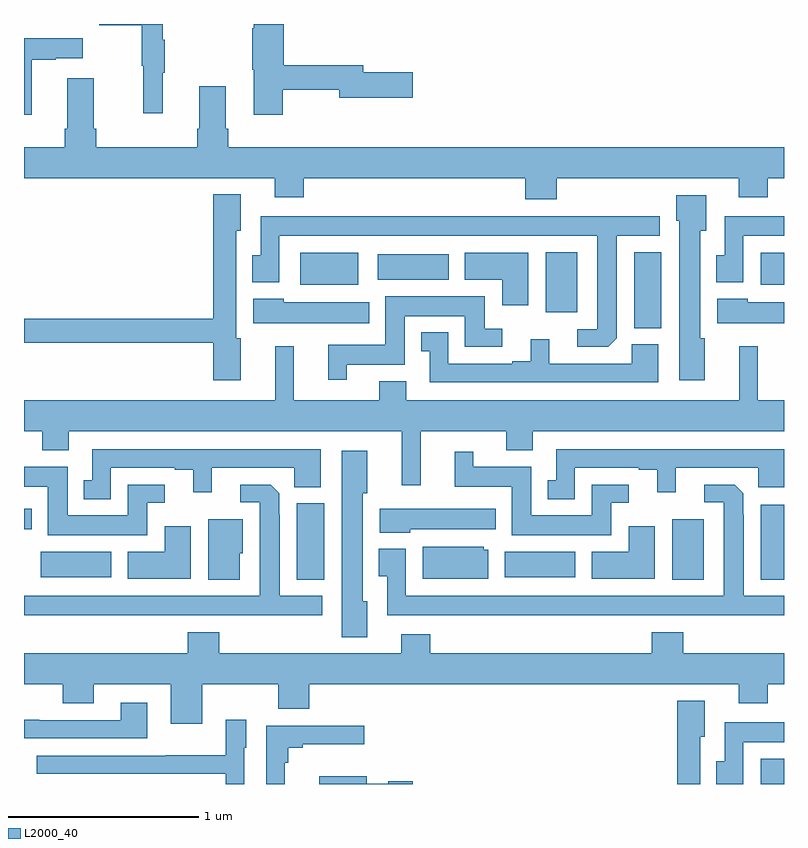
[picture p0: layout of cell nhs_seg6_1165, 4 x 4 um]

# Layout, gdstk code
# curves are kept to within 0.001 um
import gdstk
lib = gdstk.Library(unit=1e-6, precision=1e-09)
def R(c, l, rs):  # rectangles x0, y0, x1, y1
    for r in rs: c.add(gdstk.rectangle(r[:2], r[2:], *l))
def P(c, l, *ps):  # polygons
    for p in ps: c.add(gdstk.Polygon(p, *l))
L2000_40 = (2000, 40)

nhs_seg6_1165 = lib.new_cell('nhs_seg6_1165')
R(nhs_seg6_1165, L2000_40, [(186.878,925.5,187,925.633), (184.436,926.576,184.579,926.977), (186.413,926.576,186.577,926.893), (186.878,926.576,187,926.971), (183.087,926.588,183.46,926.722), (185.529,926.588,185.902,926.722), (183,926.84,183.04,926.95), (186.212,927.899,186.355,928.3), (185.747,927.984,185.911,928.3), (184.454,928.127,184.759,928.297), (186.878,928.127,187,928.297), (184.863,928.154,185.236,928.288)])
P(nhs_seg6_1165, L2000_40, [(184.362,929.154),(184.658,929.154),(184.658,929.111),(185.047,929.111),(185.047,929.246),(184.786,929.246),(184.786,929.282),(184.367,929.282),(184.367,929.5),(184.208,929.5),(184.208,929.477),(184.201,929.477),(184.201,929.259),(184.208,929.259),(184.208,929.022),(184.362,929.022)],
  [(183.731,929.243),(183.742,929.243),(183.742,929.417),(183.731,929.417),(183.731,929.5),(183.397,929.5),(183.397,929.494),(183.621,929.494),(183.621,929.28),(183.628,929.28),(183.628,929.031),(183.731,929.031)],
  [(183.04,929.311),(183.167,929.311),(183.167,929.321),(183.31,929.321),(183.31,929.425),(183,929.425),(183,929.022),(183.04,929.022)],
  [(185.804,928.688),(186.761,928.688),(186.761,928.589),(186.914,928.589),(186.914,928.688),(187,928.688),(187,928.852),(184.076,928.852),(184.076,928.948),(184.063,928.948),(184.063,929.173),(183.923,929.173),(183.923,928.948),(183.911,928.948),(183.911,928.852),(183.38,928.852),(183.38,928.948),(183.367,928.948),(183.367,929.215),(183.227,929.215),(183.227,928.948),(183.215,928.948),(183.215,928.852),(183,928.852),(183,928.688),(184.319,928.688),(184.319,928.589),(184.472,928.589),(184.472,928.688),(185.639,928.688),(185.639,928.577),(185.804,928.577)],
  [(184.141,927.846),(184.117,927.846),(184.117,928.413),(184.141,928.413),(184.141,928.603),(183.995,928.603),(183.995,927.95),(183,927.95),(183,927.822),(183.995,927.822),(183.995,927.624),(184.141,927.624)],
  [(186.583,927.846),(186.559,927.846),(186.559,928.413),(186.592,928.413),(186.592,928.6),(186.434,928.6),(186.434,928.464),(186.449,928.464),(186.449,927.624),(186.583,927.624)],
  [(186.12,927.847),(186.121,928.385),(186.346,928.385),(186.346,928.489),(184.247,928.489),(184.247,928.284),(184.202,928.284),(184.202,928.14),(184.344,928.14),(184.344,928.385),(186.017,928.385),(186.017,927.894),(185.913,927.894),(185.913,927.801),(186.074,927.801)],
  [(186.786,928.385),(187,928.385),(187,928.489),(186.689,928.489),(186.689,928.284),(186.644,928.284),(186.644,928.14),(186.786,928.14)],
  [(185.653,928.297),(185.321,928.297),(185.321,928.154),(185.516,928.154),(185.516,928.02),(185.653,928.02)],
  [(184.699,927.707),(185.005,927.707),(185.005,927.962),(185.321,927.962),(185.321,927.801),(185.518,927.801),(185.518,927.897),(185.425,927.897),(185.425,928.066),(184.901,928.066),(184.901,927.811),(184.601,927.811),(184.601,927.627),(184.699,927.627)],
  [(187,928.036),(186.81,928.036),(186.81,928.054),(186.648,928.054),(186.648,927.926),(187,927.926)],
  [(184.816,928.036),(184.368,928.036),(184.368,928.054),(184.206,928.054),(184.206,927.926),(184.816,927.926)],
  [(186.337,927.814),(186.198,927.814),(186.198,927.711),(185.764,927.711),(185.764,927.841),(185.666,927.841),(185.666,927.724),(185.57,927.724),(185.57,927.711),(185.232,927.711),(185.232,927.877),(185.09,927.877),(185.09,927.777),(185.136,927.777),(185.136,927.615),(186.337,927.615)],
  [(185.087,927.356),(185.537,927.356),(185.537,927.257),(185.677,927.257),(185.677,927.356),(187,927.356),(187,927.52),(186.863,927.52),(186.863,927.805),(186.764,927.805),(186.764,927.52),(185.011,927.52),(185.011,927.619),(184.871,927.619),(184.871,927.52),(184.421,927.52),(184.421,927.805),(184.322,927.805),(184.322,927.52),(183,927.52),(183,927.356),(183.095,927.356),(183.095,927.257),(183.235,927.257),(183.235,927.356),(184.988,927.356),(184.988,927.072),(185.087,927.072)],
  [(185.898,927.165),(186.236,927.165),(186.236,927.153),(186.332,927.153),(186.332,927.036),(186.43,927.036),(186.43,927.165),(186.864,927.165),(186.864,927.062),(187,927.062),(187,927.261),(185.802,927.261),(185.802,927.099),(185.756,927.099),(185.756,926.999),(185.898,926.999)],
  [(183.456,927.165),(183.794,927.165),(183.794,927.153),(183.89,927.153),(183.89,927.036),(183.988,927.036),(183.988,927.165),(184.422,927.165),(184.422,927.062),(184.561,927.062),(184.561,927.261),(183.36,927.261),(183.36,927.099),(183.314,927.099),(183.314,926.999),(183.456,926.999)],
  [(184.807,926.463),(184.783,926.463),(184.783,927.03),(184.807,927.03),(184.807,927.253),(184.673,927.253),(184.673,926.273),(184.807,926.273)],
  [(186.091,926.979),(186.184,926.979),(186.184,927.075),(185.987,927.075),(185.987,926.914),(185.671,926.914),(185.671,927.169),(185.365,927.169),(185.365,927.25),(185.267,927.25),(185.267,927.065),(185.567,927.065),(185.567,926.81),(186.091,926.81)],
  [(183.649,926.979),(183.742,926.979),(183.742,927.075),(183.545,927.075),(183.545,926.914),(183.229,926.914),(183.229,927.169),(183,927.169),(183,927.065),(183.125,927.065),(183.125,926.81),(183.649,926.81)],
  [(187,926.491),(186.787,926.491),(186.786,927.029),(186.74,927.075),(186.579,927.075),(186.579,926.982),(186.683,926.982),(186.683,926.491),(185.01,926.491),(185.01,926.737),(184.868,926.737),(184.868,926.593),(184.913,926.593),(184.913,926.387),(187,926.387)],
  [(184.57,926.491),(184.345,926.491),(184.344,927.029),(184.298,927.075),(184.137,927.075),(184.137,926.982),(184.241,926.982),(184.241,926.491),(183,926.491),(183,926.387),(184.57,926.387)],
  [(185.034,926.84),(185.482,926.84),(185.482,926.95),(184.872,926.95),(184.872,926.822),(185.034,926.822)],
  [(184.135,926.715),(184.15,926.715),(184.15,926.893),(183.971,926.893),(183.971,926.576),(184.135,926.576)],
  [(186.319,926.857),(186.182,926.857),(186.182,926.722),(185.987,926.722),(185.987,926.579),(186.319,926.579)],
  [(183.877,926.857),(183.74,926.857),(183.74,926.722),(183.545,926.722),(183.545,926.579),(183.877,926.579)],
  [(185.443,926.733),(185.421,926.733),(185.421,926.749),(185.099,926.749),(185.099,926.579),(185.443,926.579)],
  [(183.937,926.024),(184.337,926.024),(184.337,925.896),(184.501,925.896),(184.501,926.024),(186.761,926.024),(186.761,925.925),(186.914,925.925),(186.914,926.024),(187,926.024),(187,926.188),(186.47,926.188),(186.47,926.299),(186.305,926.299),(186.305,926.188),(185.138,926.188),(185.138,926.287),(184.985,926.287),(184.985,926.188),(184.028,926.188),(184.028,926.299),(183.863,926.299),(183.863,926.188),(183,926.188),(183,926.024),(183.203,926.024),(183.203,925.925),(183.367,925.925),(183.367,926.024),(183.773,926.024),(183.773,925.818),(183.937,925.818)],
  [(186.559,925.749),(186.583,925.749),(186.583,925.939),(186.437,925.939),(186.437,925.5),(186.559,925.5)],
  [(183.649,925.927),(183.509,925.927),(183.509,925.836),(183.079,925.836),(183.079,925.838),(183,925.838),(183,925.74),(183.649,925.74)],
  [(184.158,925.692),(184.171,925.692),(184.171,925.837),(184.062,925.837),(184.062,925.651),(183.745,925.651),(183.745,925.65),(183.067,925.65),(183.067,925.554),(184.062,925.554),(184.062,925.5),(184.158,925.5)],
  [(186.786,925.721),(187,925.721),(187,925.825),(186.689,925.825),(186.689,925.62),(186.644,925.62),(186.644,925.5),(186.786,925.5)],
  [(184.373,925.613),(184.391,925.613),(184.391,925.69),(184.468,925.69),(184.468,925.709),(184.792,925.709),(184.792,925.806),(184.275,925.806),(184.275,925.5),(184.373,925.5)],
  [(185.047,925.514),(184.917,925.514),(184.917,925.501),(184.804,925.501),(184.804,925.54),(184.553,925.54),(184.553,925.5),(185.047,925.5)])

lib.write_gds('nhs_seg6_1165.gds')
